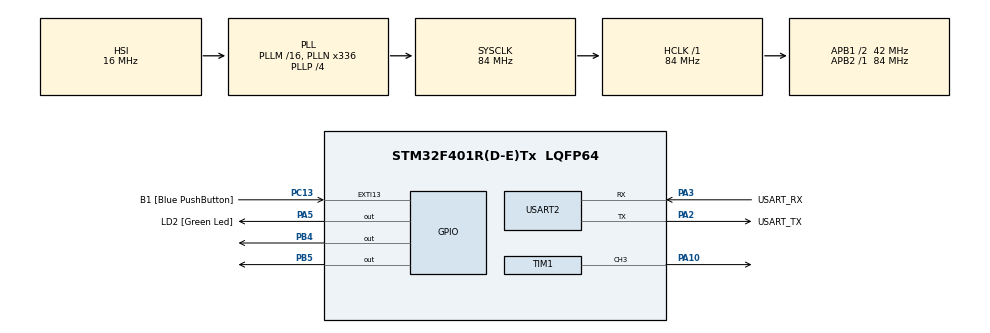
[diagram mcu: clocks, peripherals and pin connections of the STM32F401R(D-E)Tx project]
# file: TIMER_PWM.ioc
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Mcu.Family=STM32F4
Mcu.Name=STM32F401R(D-E)Tx
Mcu.Package=LQFP64
NVIC.PriorityGroup=NVIC_PRIORITYGROUP_0
PA10.Signal=S_TIM1_CH3
PA13.GPIO_Label=TMS
PA13.Mode=Serial_Wire
PA13.Signal=SYS_JTMS-SWDIO
PA14.GPIO_Label=TCK
PA14.Mode=Serial_Wire
PA14.Signal=SYS_JTCK-SWCLK
PA2.GPIO_Label=USART_TX
PA2.GPIO_Mode=GPIO_MODE_AF_PP
PA2.GPIO_PuPd=GPIO_NOPULL
PA2.GPIO_Speed=GPIO_SPEED_FREQ_LOW
PA2.Mode=Asynchronous
PA2.Signal=USART2_TX
PA3.GPIO_Label=USART_RX
PA3.GPIO_Mode=GPIO_MODE_AF_PP
PA3.GPIO_PuPd=GPIO_NOPULL
PA3.GPIO_Speed=GPIO_SPEED_FREQ_LOW
PA3.Mode=Asynchronous
PA3.Signal=USART2_RX
PA5.GPIO_Label=LD2 [Green Led]
PA5.GPIO_Mode=GPIO_MODE_OUTPUT_PP
PA5.GPIO_PuPd=GPIO_NOPULL
PA5.GPIO_Speed=GPIO_SPEED_FREQ_LOW
PA5.Signal=GPIO_Output
PB3.GPIO_Label=SWO
PB3.Signal=SYS_JTDO-SWO
PB4.Signal=GPIO_Output
PB5.Signal=GPIO_Output
PC13-ANTI_TAMP.GPIO_Label=B1 [Blue PushButton]
PC13-ANTI_TAMP.GPIO_ModeDefaultEXTI=GPIO_MODE_IT_FALLING
PC13-ANTI_TAMP.GPIO_PuPd=GPIO_NOPULL
PC13-ANTI_TAMP.Signal=GPXTI13
PC14-OSC32_IN.Mode=LSE-External-Oscillator
PC14-OSC32_IN.Signal=RCC_OSC32_IN
PC15-OSC32_OUT.Mode=LSE-External-Oscillator
PC15-OSC32_OUT.Signal=RCC_OSC32_OUT
PH0\ -\ OSC_IN.Mode=HSE-External-Clock-Source
PH0\ -\ OSC_IN.Signal=RCC_OSC_IN
PH1\ -\ OSC_OUT.Mode=HSE-External-Clock-Source
PH1\ -\ OSC_OUT.Signal=RCC_OSC_OUT
ProjectManager.HeapSize=0x200
ProjectManager.StackSize=0x400
ProjectManager.TargetToolchain=STM32CubeIDE
RCC.48MHZClocksFreq_Value=48000000
RCC.AHBFreq_Value=84000000
RCC.APB1CLKDivider=RCC_HCLK_DIV2
RCC.APB1Freq_Value=42000000
RCC.APB1TimFreq_Value=84000000
RCC.APB2Freq_Value=84000000
RCC.APB2TimFreq_Value=84000000
RCC.CortexFreq_Value=84000000
RCC.HCLKFreq_Value=84000000
RCC.HSE_VALUE=8000000
RCC.HSI_VALUE=16000000
RCC.PLLN=336
RCC.PLLP=RCC_PLLP_DIV4
RCC.PLLQ=7
RCC.SYSCLKFreq_VALUE=84000000
RCC.SYSCLKSource=RCC_SYSCLKSOURCE_PLLCLK
RCC.VCOOutputFreq_Value=336000000
SH.S_TIM1_CH3.0=TIM1_CH3,PWM Generation3 CH3
TIM1.Channel-PWM\ Generation3\ CH3=TIM_CHANNEL_3
TIM1.Period=255
TIM1.Prescaler=8400
USART2.VirtualMode=VM_ASYNC
board=NUCLEO-F401RE

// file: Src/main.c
/* USER CODE BEGIN Header */
/**
  ******************************************************************************
  * @file           : main.c
  * @brief          : Main program body
  ******************************************************************************
  * @attention
  *
  * <h2><center>&copy; Copyright (c) 2020 STMicroelectronics.
  * All rights reserved.</center></h2>
  *
  * This software component is licensed by ST under BSD 3-Clause license,
  * the "License"; You may not use this file except in compliance with the
  * License. You may obtain a copy of the License at:
  *                        opensource.org/licenses/BSD-3-Clause
  *
  ******************************************************************************
  */
/* USER CODE END Header */

#include "main.h"

/* USER CODE BEGIN PD */
#define ENA_TIM (&htim1)
#define ENA_CH TIM_CHANNEL_3
#define IN1A_PORT GPIOB
#define IN1A_PIN GPIO_PIN_4
#define IN2A_PORT GPIOB
#define IN2A_PIN GPIO_PIN_5
/* USER CODE END PD */

TIM_HandleTypeDef htim1;

UART_HandleTypeDef huart2;

/* USER CODE BEGIN PV */
uint8_t Speed = 0;
/* USER CODE END PV */

void SystemClock_Config(void);
static void MX_GPIO_Init(void);
static void MX_USART2_UART_Init(void);
static void MX_TIM1_Init(void);

int main(void)
{

  /* MCU Configuration--------------------------------------------------------*/

  /* Reset of all peripherals, Initializes the Flash interface and the Systick. */
  HAL_Init();

  /* Configure the system clock */
  SystemClock_Config();

  /* Initialize all configured peripherals */
  MX_GPIO_Init();
  MX_USART2_UART_Init();
  MX_TIM1_Init();
  /* USER CODE BEGIN 2 */
  HAL_TIM_PWM_Start(ENA_TIM, ENA_CH);
  /* USER CODE END 2 */

  /* Infinite loop */
  while (1)
  {

    /* USER CODE BEGIN 3 */
	  HAL_GPIO_WritePin(IN1A_PORT, IN1A_PIN, GPIO_PIN_SET);
	  HAL_GPIO_WritePin(IN2A_PORT, IN2A_PIN, GPIO_PIN_RESET);
	  for(Speed = 0; Speed < 128; Speed++){
		  __HAL_TIM_SET_COMPARE(ENA_TIM, ENA_CH, Speed);
		  HAL_Delay(100);
	  }
	  for(Speed = 127; Speed > 0; Speed--){
	  	  __HAL_TIM_SET_COMPARE(ENA_TIM, ENA_CH, Speed);
	  	  HAL_Delay(100);
	  }

	  HAL_GPIO_WritePin(IN1A_PORT, IN1A_PIN, GPIO_PIN_RESET);
	  HAL_GPIO_WritePin(IN2A_PORT, IN2A_PIN, GPIO_PIN_SET);
	  for(Speed = 0; Speed < 128; Speed++){
		  __HAL_TIM_SET_COMPARE(ENA_TIM, ENA_CH, Speed);
		  HAL_Delay(100);
	  }
	  for(Speed = 127; Speed > 0; Speed--){
	  	  __HAL_TIM_SET_COMPARE(ENA_TIM, ENA_CH, Speed);
	  	  HAL_Delay(100);
	  }
  }
  /* USER CODE END 3 */
}

void SystemClock_Config(void)
{
  RCC_OscInitTypeDef RCC_OscInitStruct = {0};
  RCC_ClkInitTypeDef RCC_ClkInitStruct = {0};

  /** Configure the main internal regulator output voltage
  */
  __HAL_RCC_PWR_CLK_ENABLE();
  __HAL_PWR_VOLTAGESCALING_CONFIG(PWR_REGULATOR_VOLTAGE_SCALE2);
  /** Initializes the CPU, AHB and APB busses clocks
  */
  RCC_OscInitStruct.OscillatorType = RCC_OSCILLATORTYPE_HSI;
  RCC_OscInitStruct.HSIState = RCC_HSI_ON;
  RCC_OscInitStruct.HSICalibrationValue = RCC_HSICALIBRATION_DEFAULT;
  RCC_OscInitStruct.PLL.PLLState = RCC_PLL_ON;
  RCC_OscInitStruct.PLL.PLLSource = RCC_PLLSOURCE_HSI;
  RCC_OscInitStruct.PLL.PLLM = 16;
  RCC_OscInitStruct.PLL.PLLN = 336;
  RCC_OscInitStruct.PLL.PLLP = RCC_PLLP_DIV4;
  RCC_OscInitStruct.PLL.PLLQ = 7;
  if (HAL_RCC_OscConfig(&RCC_OscInitStruct) != HAL_OK)
  {
    Error_Handler();
  }
  /** Initializes the CPU, AHB and APB busses clocks
  */
  RCC_ClkInitStruct.ClockType = RCC_CLOCKTYPE_HCLK|RCC_CLOCKTYPE_SYSCLK
                              |RCC_CLOCKTYPE_PCLK1|RCC_CLOCKTYPE_PCLK2;
  RCC_ClkInitStruct.SYSCLKSource = RCC_SYSCLKSOURCE_PLLCLK;
  RCC_ClkInitStruct.AHBCLKDivider = RCC_SYSCLK_DIV1;
  RCC_ClkInitStruct.APB1CLKDivider = RCC_HCLK_DIV2;
  RCC_ClkInitStruct.APB2CLKDivider = RCC_HCLK_DIV1;

  if (HAL_RCC_ClockConfig(&RCC_ClkInitStruct, FLASH_LATENCY_2) != HAL_OK)
  {
    Error_Handler();
  }
}

static void MX_TIM1_Init(void)
{

  TIM_MasterConfigTypeDef sMasterConfig = {0};
  TIM_OC_InitTypeDef sConfigOC = {0};
  TIM_BreakDeadTimeConfigTypeDef sBreakDeadTimeConfig = {0};

  htim1.Instance = TIM1;
  htim1.Init.Prescaler = 8400;
  htim1.Init.CounterMode = TIM_COUNTERMODE_UP;
  htim1.Init.Period = 255;
  htim1.Init.ClockDivision = TIM_CLOCKDIVISION_DIV1;
  htim1.Init.RepetitionCounter = 0;
  htim1.Init.AutoReloadPreload = TIM_AUTORELOAD_PRELOAD_DISABLE;
  if (HAL_TIM_PWM_Init(&htim1) != HAL_OK)
  {
    Error_Handler();
  }
  sMasterConfig.MasterOutputTrigger = TIM_TRGO_RESET;
  sMasterConfig.MasterSlaveMode = TIM_MASTERSLAVEMODE_DISABLE;
  if (HAL_TIMEx_MasterConfigSynchronization(&htim1, &sMasterConfig) != HAL_OK)
  {
    Error_Handler();
  }
  sConfigOC.OCMode = TIM_OCMODE_PWM1;
  sConfigOC.Pulse = 0;
  sConfigOC.OCPolarity = TIM_OCPOLARITY_HIGH;
  sConfigOC.OCNPolarity = TIM_OCNPOLARITY_HIGH;
  sConfigOC.OCFastMode = TIM_OCFAST_DISABLE;
  sConfigOC.OCIdleState = TIM_OCIDLESTATE_RESET;
  sConfigOC.OCNIdleState = TIM_OCNIDLESTATE_RESET;
  if (HAL_TIM_PWM_ConfigChannel(&htim1, &sConfigOC, TIM_CHANNEL_3) != HAL_OK)
  {
    Error_Handler();
  }
  sBreakDeadTimeConfig.OffStateRunMode = TIM_OSSR_DISABLE;
  sBreakDeadTimeConfig.OffStateIDLEMode = TIM_OSSI_DISABLE;
  sBreakDeadTimeConfig.LockLevel = TIM_LOCKLEVEL_OFF;
  sBreakDeadTimeConfig.DeadTime = 0;
  sBreakDeadTimeConfig.BreakState = TIM_BREAK_DISABLE;
  sBreakDeadTimeConfig.BreakPolarity = TIM_BREAKPOLARITY_HIGH;
  sBreakDeadTimeConfig.AutomaticOutput = TIM_AUTOMATICOUTPUT_DISABLE;
  if (HAL_TIMEx_ConfigBreakDeadTime(&htim1, &sBreakDeadTimeConfig) != HAL_OK)
  {
    Error_Handler();
  }
  HAL_TIM_MspPostInit(&htim1);

}

static void MX_USART2_UART_Init(void)
{

  huart2.Instance = USART2;
  huart2.Init.BaudRate = 115200;
  huart2.Init.WordLength = UART_WORDLENGTH_8B;
  huart2.Init.StopBits = UART_STOPBITS_1;
  huart2.Init.Parity = UART_PARITY_NONE;
  huart2.Init.Mode = UART_MODE_TX_RX;
  huart2.Init.HwFlowCtl = UART_HWCONTROL_NONE;
  huart2.Init.OverSampling = UART_OVERSAMPLING_16;
  if (HAL_UART_Init(&huart2) != HAL_OK)
  {
    Error_Handler();
  }

}

static void MX_GPIO_Init(void)
{
  GPIO_InitTypeDef GPIO_InitStruct = {0};

  /* GPIO Ports Clock Enable */
  __HAL_RCC_GPIOC_CLK_ENABLE();
  __HAL_RCC_GPIOH_CLK_ENABLE();
  __HAL_RCC_GPIOA_CLK_ENABLE();
  __HAL_RCC_GPIOB_CLK_ENABLE();

  /*Configure GPIO pin Output Level */
  HAL_GPIO_WritePin(LD2_GPIO_Port, LD2_Pin, GPIO_PIN_RESET);

  /*Configure GPIO pin Output Level */
  HAL_GPIO_WritePin(GPIOB, GPIO_PIN_4|GPIO_PIN_5, GPIO_PIN_RESET);

  /*Configure GPIO pin : B1_Pin */
  GPIO_InitStruct.Pin = B1_Pin;
  GPIO_InitStruct.Mode = GPIO_MODE_IT_FALLING;
  GPIO_InitStruct.Pull = GPIO_NOPULL;
  HAL_GPIO_Init(B1_GPIO_Port, &GPIO_InitStruct);

  /*Configure GPIO pin : LD2_Pin */
  GPIO_InitStruct.Pin = LD2_Pin;
  GPIO_InitStruct.Mode = GPIO_MODE_OUTPUT_PP;
  GPIO_InitStruct.Pull = GPIO_NOPULL;
  GPIO_InitStruct.Speed = GPIO_SPEED_FREQ_LOW;
  HAL_GPIO_Init(LD2_GPIO_Port, &GPIO_InitStruct);

  /*Configure GPIO pins : PB4 PB5 */
  GPIO_InitStruct.Pin = GPIO_PIN_4|GPIO_PIN_5;
  GPIO_InitStruct.Mode = GPIO_MODE_OUTPUT_PP;
  GPIO_InitStruct.Pull = GPIO_NOPULL;
  GPIO_InitStruct.Speed = GPIO_SPEED_FREQ_LOW;
  HAL_GPIO_Init(GPIOB, &GPIO_InitStruct);

}

void Error_Handler(void)
{
}

/************************ (C) COPYRIGHT STMicroelectronics *****END OF FILE****/
